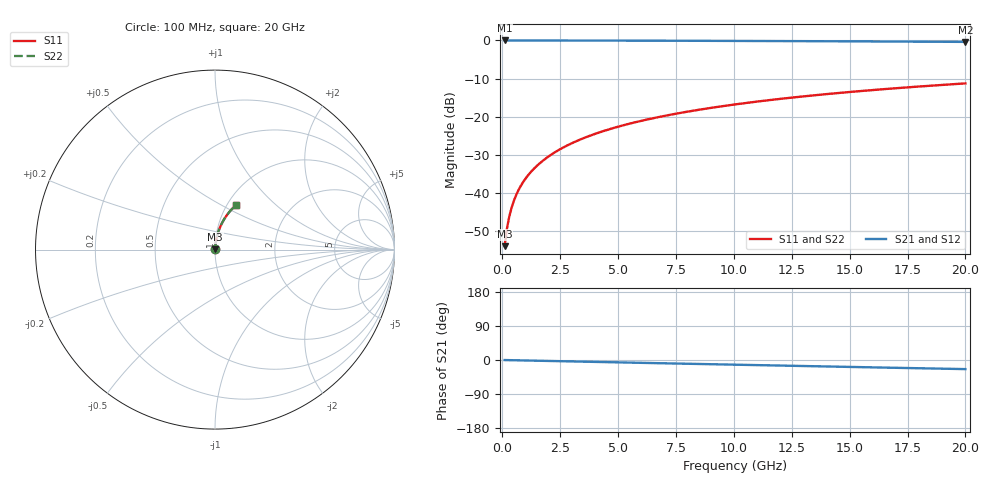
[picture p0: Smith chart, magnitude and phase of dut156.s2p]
! Touchstone file exported from HFSS 2026.1.0
!  File:  C:/ffzhzh/LocalFiles/Ansys_Project_Files/temp_train_BSMRDL_156_1782986691_6248.aedt
!  Generated:  06:06:37 PM Jul  2, 2026
!  Design:  BSMRDL
!  Project:  temp_train_BSMRDL_156_1782986691_6248
! Variables:
!  h_bsmrdl = 4.59um
!  h_ox = 20um
!  h_rdl = 5um
!  h_sub = 80um
!  h_tmrdl = 5um
!  h_tsv = 80um
!  h_via = 3um
!  l_bsmrdl = 282.28um
!  l_sub = 682.28um
!  l_tmrdl = 200um
!  m_sub = 200um
!  pitch = 59.27um
!  r_tsv = 6um
!  s_tmrdl = 10um
!  w_bsmrdl = 20.26um
!  w_sub = 500um
!  w_tmrdl = 12um
!  x_tsv_center1 = 206um
!  x_tsv_center2 = 508.54um
!  x_tsv_center3 = 720.54um
!  x_tsv_center4 = 1023.08um
!  x_tsv_center5 = 1235.08um
!  x_tsv_center6 = 1537.62um
# GHz S MA R 50.000000
! Terminal data exported
! Port[1] = BSM_RDL1_1_T1
! Port[2] = BSM_RDL1_1_T2
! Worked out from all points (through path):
!   200 points, 100 MHz to 20 GHz, reference 50 ohm
!   highest |S21| = -0.01 dB at 100 MHz (marker M1); lowest = -0.4 dB at 20 GHz (marker M2)
!   group delay of S21, straight-line fit = 3.34 ps
!   lowest |S11| = -54.0 dB at 100 MHz (marker M3), VSWR 1.00, Z = 50.1 + j0.158 ohm
!   |S11| at or under -10 dB: start of sweep to end of sweep
!   |S22| runs from -54.0 to -11.3 dB; largest |S21 - S12| = 2.4e-15
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0.1  0.002 51.9  0.9988 -0.1  0.9988 -0.1  0.002 51.9
! Gamma 0 0 0 0
! Port Impedance 50 0 50 0
0.2  0.003388 68.0  0.9987 -0.3  0.9987 -0.3  0.003388 68.0
0.3  0.004877 74.2  0.9987 -0.4  0.9987 -0.4  0.004877 74.2
0.4  0.006384 77.4  0.9986 -0.5  0.9986 -0.5  0.006383 77.4
0.5  0.007889 79.3  0.9986 -0.6  0.9986 -0.6  0.007889 79.3
0.7  0.01088 81.4  0.9985 -0.9  0.9985 -0.9  0.01088 81.4
0.8  0.01237 82.0  0.9984 -1.0  0.9984 -1.0  0.01237 82.0
1  0.01533 82.9  0.9984 -1.3  0.9984 -1.3  0.01533 82.9
1.2  0.01829 83.4  0.9983 -1.5  0.9983 -1.5  0.01829 83.4
1.4  0.02124 83.7  0.9982 -1.8  0.9982 -1.8  0.02124 83.7
1.7  0.02567 84.0  0.998 -2.2  0.998 -2.2  0.02567 84.0
2  0.03009 84.0  0.9978 -2.5  0.9978 -2.5  0.03009 84.0
2.7  0.04039 83.7  0.9972 -3.4  0.9972 -3.4  0.04039 83.7
3.5  0.05209 83.1  0.9964 -4.4  0.9964 -4.4  0.05209 83.1
4.2  0.06226 82.4  0.9956 -5.3  0.9956 -5.3  0.06226 82.4
5  0.07381 81.6  0.9945 -6.3  0.9945 -6.3  0.07381 81.6
6.8  0.09945 79.6  0.9917 -8.5  0.9917 -8.5  0.09945 79.6
8.3  0.1205 77.9  0.989 -10.3  0.989 -10.3  0.1205 77.9
10.1  0.1453 75.9  0.9852 -12.5  0.9852 -12.5  0.1453 75.9
13.4  0.1897 72.1  0.9771 -16.4  0.9771 -16.4  0.1897 72.1
16.7  0.2323 68.4  0.9674 -20.3  0.9674 -20.3  0.2323 68.4
20  0.2729 64.8  0.9564 -24.0  0.9564 -24.0  0.2729 64.8
